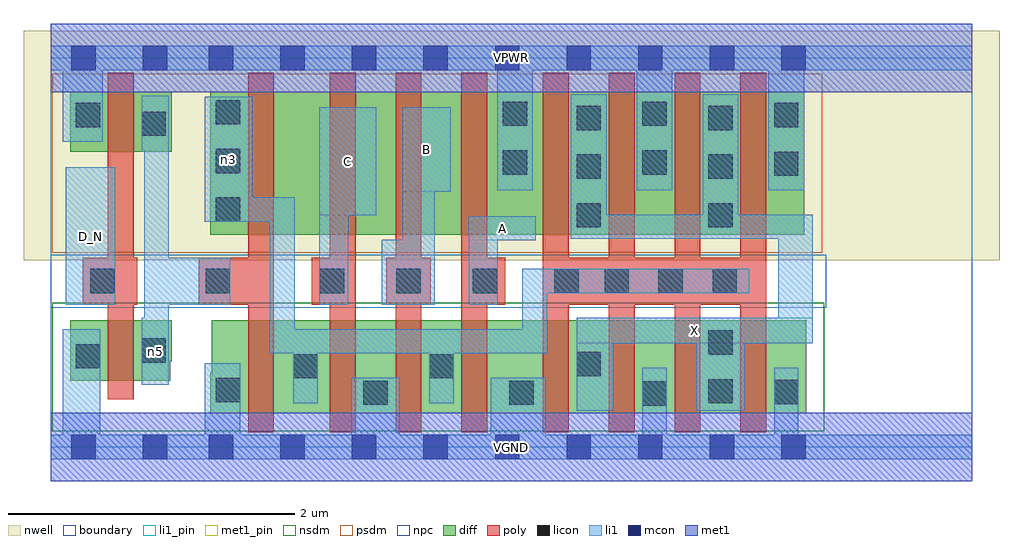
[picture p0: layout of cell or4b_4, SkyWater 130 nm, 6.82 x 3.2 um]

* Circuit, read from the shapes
.subckt or4b_4 A B C D_N VGND VPWR X n3 n5
XM1 n5 D_N VGND VSUBS sky130_fd_pr__nfet_01v8 w=0.42 l=0.18
XM2 n3 n5 VGND VSUBS sky130_fd_pr__nfet_01v8 w=0.65 l=0.18
XM3 VGND C n3 VSUBS sky130_fd_pr__nfet_01v8 w=0.65 l=0.18
XM4 n3 B VGND VSUBS sky130_fd_pr__nfet_01v8 w=0.65 l=0.18
XM5 VGND A n3 VSUBS sky130_fd_pr__nfet_01v8 w=0.65 l=0.18
XM6 X n3 VGND VSUBS sky130_fd_pr__nfet_01v8 w=0.65 l=0.18 m=4
XM7 n5 D_N VPWR n1 sky130_fd_pr__pfet_01v8 w=0.42 l=0.18
XM8 n2 n5 n3 n1 sky130_fd_pr__pfet_01v8 w=1 l=0.18
XM9 n4 C n2 n1 sky130_fd_pr__pfet_01v8 w=1 l=0.18
XM10 n6 B n4 n1 sky130_fd_pr__pfet_01v8 w=1 l=0.18
XM11 VPWR A n6 n1 sky130_fd_pr__pfet_01v8 w=1 l=0.18
XM12 X n3 VPWR n1 sky130_fd_pr__pfet_01v8 w=1 l=0.18 m=4
.ends

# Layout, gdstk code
import gdstk
lib = gdstk.Library(unit=1e-6, precision=1e-09)
def R(c, l, rs):  # rectangles x0, y0, x1, y1
    for r in rs: c.add(gdstk.rectangle(r[:2], r[2:], *l))
def A(c, l, x, y, w, h, nx, ny, dx, dy):  # array of equal rectangles
    R(c, l, [(x+i*dx, y+j*dy, x+i*dx+w, y+j*dy+h) for i in range(nx) for j in range(ny)])
nwell = (64, 20)
diff = (65, 20)
poly = (66, 20)
licon = (66, 44)
li1_pin = (67, 16)
li1 = (67, 20)
mcon = (67, 44)
met1_pin = (68, 16)
met1 = (68, 20)
nsdm = (93, 44)
psdm = (94, 20)
npc = (95, 20)
boundary = (235, 4)

or4b_4 = lib.new_cell('or4b_4')
R(or4b_4, nwell, [(-0.19,1.305,6.63,2.91), (0,1.305,6.44,2.91)])
R(or4b_4, diff, [(1.115,0.235,5.28,0.52), (1.125,0.235,5.28,0.885), (0.135,0.465,0.835,0.885), (0.135,0.6,0.845,0.885), (1.115,1.485,5.265,2.485), (0.135,2.065,0.845,2.485)])
A(or4b_4, poly, 1.95, 0.105, 0.18, 2.51, 3, 1, 0.46, 0)
A(or4b_4, poly, 3.44, 0.105, 0.18, 2.51, 4, 1, 0.46, 0)
R(or4b_4, poly, [(1.38,0.105,1.56,2.615), (0.4,0.335,0.58,2.615), (0.225,0.995,0.605,1.325), (1.035,0.995,1.56,1.325), (1.825,0.995,2.13,1.325), (2.345,0.995,2.655,1.325), (2.87,0.995,3.175,1.325), (3.44,0.995,5,1.325)])
A(or4b_4, licon, 1.88, 1.075, 0.17, 0.17, 3, 1, 0.535, 0)
A(or4b_4, licon, 3.675, 1.535, 0.17, 0.17, 1, 3, 0, 0.34)
A(or4b_4, licon, 4.595, 1.535, 0.17, 0.17, 1, 3, 0, 0.34)
A(or4b_4, licon, 1.155, 1.575, 0.17, 0.17, 1, 3, 0, 0.34)
R(or4b_4, licon, [(4.135,0.29,4.305,0.46), (2.185,0.295,2.355,0.465), (3.205,0.295,3.375,0.465), (5.055,0.3,5.225,0.47), (4.595,0.305,4.765,0.475), (1.155,0.315,1.325,0.485), (1.695,0.48,1.865,0.65), (2.645,0.48,2.815,0.65), (3.675,0.495,3.845,0.665), (0.175,0.55,0.345,0.72), (0.635,0.59,0.805,0.76), (4.595,0.645,4.765,0.815), (0.275,1.075,0.445,1.245), (1.085,1.075,1.255,1.245), (3.52,1.075,3.69,1.245), (3.87,1.075,4.04,1.245), (4.245,1.075,4.415,1.245), (4.625,1.075,4.795,1.245), (5.055,1.895,5.225,2.065), (3.16,1.905,3.33,2.075), (4.135,1.905,4.305,2.075), (0.635,2.175,0.805,2.345), (0.175,2.235,0.345,2.405), (5.055,2.235,5.225,2.405), (3.16,2.245,3.33,2.415), (4.135,2.245,4.305,2.415)])
R(or4b_4, li1_pin, [(3.675,0.725,5.325,0.905), (0.105,0.995,0.45,1.955), (2.92,1.445,3.39,1.615), (1.875,1.62,2.275,2.375), (2.46,1.785,2.795,2.375)])
R(or4b_4, li1, [(0,-0.085,6.44,0.085), (0.085,-0.085,0.345,0.825), (1.075,-0.085,1.325,0.585), (2.1,-0.085,2.44,0.485), (3.075,-0.085,3.46,0.485), (4.135,-0.085,4.305,0.555), (5.055,-0.085,5.225,0.555), (3.675,0.255,3.93,0.905), (4.51,0.255,4.85,0.905), (1.695,0.305,1.865,0.825), (2.645,0.305,2.815,0.825), (0.635,0.435,0.825,0.905), (0.655,0.435,0.825,2.455), (1.53,0.655,3.47,0.825), (1.53,0.655,1.705,1.745), (3.295,0.655,3.47,1.245), (3.675,0.725,5.325,0.905), (5.085,0.725,5.325,1.625), (0.105,0.995,0.45,1.955), (0.655,0.995,1.255,1.325), (1.875,0.995,2.08,2.375), (2.315,0.995,2.685,1.45), (2.46,0.995,2.685,2.375), (2.92,0.995,3.125,1.615), (3.295,1.075,4.88,1.245), (2.92,1.445,3.39,1.615), (3.635,1.455,5.325,1.625), (3.635,1.455,3.885,2.465), (4.555,1.455,4.805,2.465), (1.075,1.575,1.41,2.45), (1.075,1.575,1.705,1.745), (1.875,1.62,2.275,2.375), (2.46,1.785,2.795,2.375), (3.12,1.795,3.37,2.805), (4.095,1.795,4.345,2.805), (5.015,1.795,5.265,2.805), (0.635,2.065,0.825,2.455), (0.085,2.135,0.365,2.805), (0,2.635,6.44,2.805)])
A(or4b_4, mcon, 1.105, -0.085, 0.17, 0.17, 9, 2, 0.5, 2.72)
R(or4b_4, mcon, [(0.145,-0.085,0.315,0.085), (0.645,-0.085,0.815,0.085), (0.145,2.635,0.315,2.805), (0.645,2.635,0.815,2.805)])
R(or4b_4, met1_pin, [(0,-0.24,6.44,0.24), (0,2.48,6.44,2.96)])
R(or4b_4, met1, [(0,-0.24,6.44,0.24), (0,2.48,6.44,2.96)])
R(or4b_4, nsdm, [(0.01,0.11,5.405,1.01)])
R(or4b_4, psdm, [(0.01,1.36,5.39,2.61)])
R(or4b_4, npc, [(0,0.975,5.42,1.345)])
R(or4b_4, boundary, [(0,0,6.44,2.72)])
or4b_4.add(gdstk.Label('A', (3.155,1.53), layer=67, texttype=5))
or4b_4.add(gdstk.Label('B', (2.627,2.08), layer=67, texttype=5))
or4b_4.add(gdstk.Label('C', (2.075,1.997), layer=67, texttype=5))
or4b_4.add(gdstk.Label('D_N', (0.277,1.475), layer=67, texttype=5))
or4b_4.add(gdstk.Label('X', (4.5,0.815), layer=67, texttype=5))
or4b_4.add(gdstk.Label('n3', (1.242,2.012), layer=67, texttype=5))
or4b_4.add(gdstk.Label('n5', (0.73,0.67), layer=67, texttype=5))
or4b_4.add(gdstk.Label('VPWR', (3.22,2.72), layer=68, texttype=5))
or4b_4.add(gdstk.Label('VGND', (3.22,0), layer=68, texttype=5))
or4b_4.add(gdstk.Label('A', (3.155,1.53), layer=67, texttype=16))
or4b_4.add(gdstk.Label('B', (2.627,2.08), layer=67, texttype=16))
or4b_4.add(gdstk.Label('C', (2.075,1.997), layer=67, texttype=16))
or4b_4.add(gdstk.Label('D_N', (0.277,1.475), layer=67, texttype=16))
or4b_4.add(gdstk.Label('X', (4.5,0.815), layer=67, texttype=16))
or4b_4.add(gdstk.Label('VPWR', (3.22,2.72), layer=68, texttype=16))
or4b_4.add(gdstk.Label('VGND', (3.22,0), layer=68, texttype=16))

lib.write_gds('or4b_4.gds')
